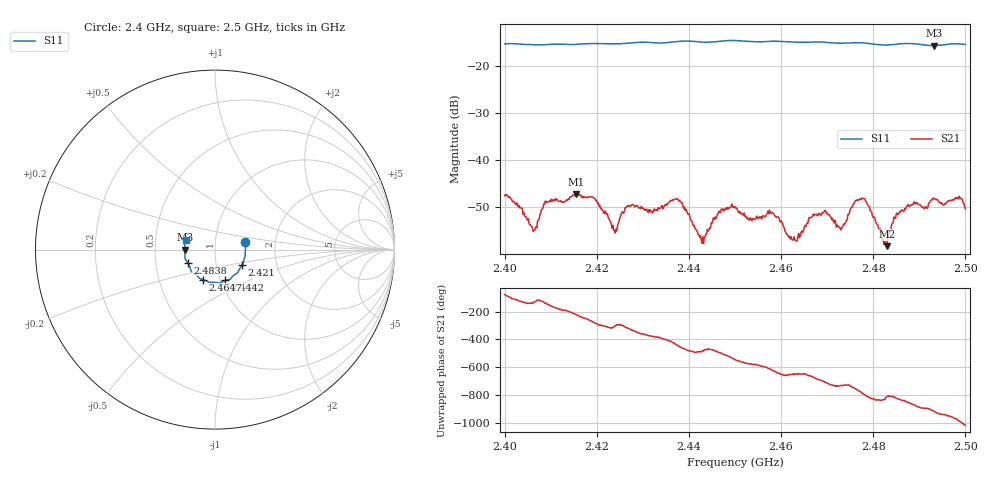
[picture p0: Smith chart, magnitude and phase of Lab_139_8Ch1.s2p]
# Hz S RI R 50
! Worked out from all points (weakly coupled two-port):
!   601 points, 2.4 GHz to 2.5 GHz, reference 50 ohm
!   highest |S21| = -47.15 dB at 2.4155 GHz (marker M1); lowest = -58.2 dB at 2.483 GHz (marker M2)
!   lowest |S11| = -15.6 dB at 2.4932 GHz (marker M3), VSWR 1.40, Z = 35.8 - j0.0893 ohm
!   |S11| at or under -10 dB: start of sweep to end of sweep
!   S12 and S22 are empty: the file has one direction only
!   S11 on the Smith chart (normalised r, x): 2.4 GHz: 1.40, +0.12; 2.421 GHz: 1.33, -0.24; 2.4442 GHz: 1.05, -0.37; 2.4647 GHz: 0.83, -0.29; 2.4838 GHz: 0.73, -0.11; 2.5 GHz: 0.72, +0.08
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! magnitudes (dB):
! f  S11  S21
! 2.4 GHz  -15.2  -47.5
! 2.4065 GHz  -15.4  -54.9
! 2.409 GHz  -15.4  -48.9
! 2.4155 GHz  -15.3  -47.2
! 2.4167 GHz  -15.3  -47.8
! 2.421 GHz  -15.2  -50.2
! 2.4238 GHz  -15.2  -54.9
! 2.4267 GHz  -15.1  -49.6
! 2.4333 GHz  -15.0  -50.0
! 2.4375 GHz  -14.7  -48.3
! 2.4427 GHz  -14.8  -56.8
! 2.4442 GHz  -14.9  -55.0
! 2.45 GHz  -14.5  -50.1
! 2.4647 GHz  -14.9  -55.3
! 2.4667 GHz  -14.8  -52.0
! 2.473 GHz  -15.1  -54.8
! 2.4777 GHz  -15.0  -48.1
! 2.483 GHz  -15.5  -58.2
! 2.4833 GHz  -15.5  -55.9
! 2.4838 GHz  -15.4  -54.7
! 2.4932 GHz  -15.6  -48.2
! 2.5 GHz  -15.3  -50.3
